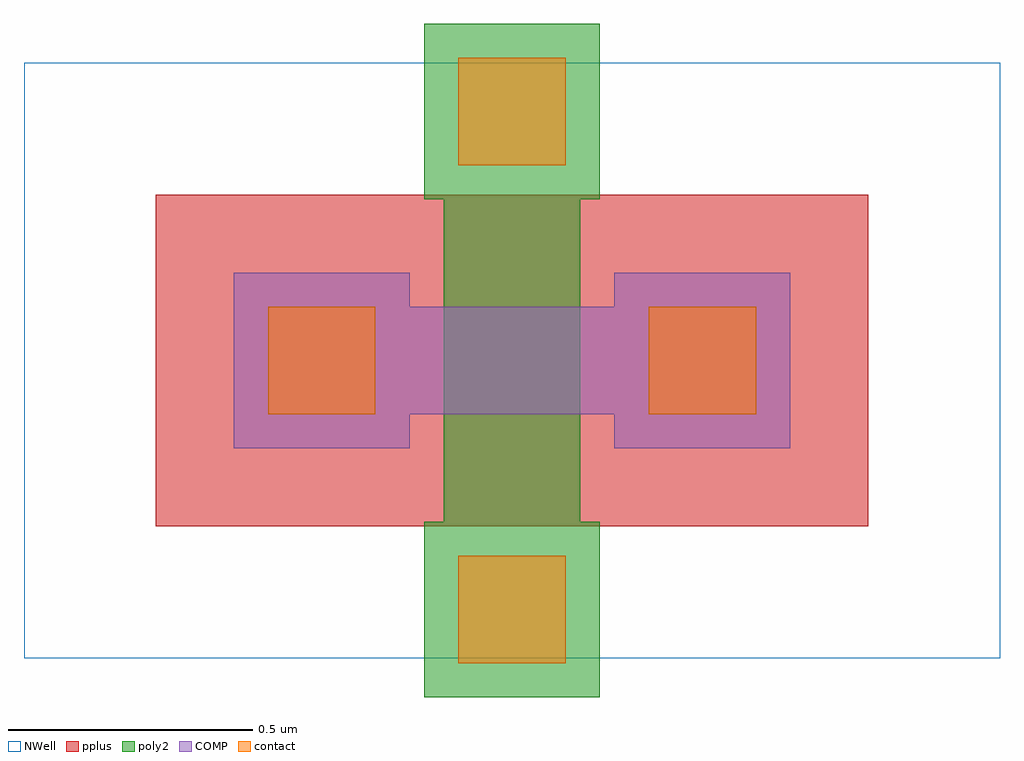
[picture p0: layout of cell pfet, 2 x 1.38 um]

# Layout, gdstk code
import gdstk
lib = gdstk.Library(unit=1e-6, precision=1e-09)
def R(c, l, rs):  # rectangles x0, y0, x1, y1
    for r in rs: c.add(gdstk.rectangle(r[:2], r[2:], *l))
NWell = (21, 0)
COMP = (22, 0)
poly2 = (30, 0)
pplus = (31, 0)
contact = (33, 0)

labels_gen_c2858a10 = lib.new_cell('labels_gen_c2858a10')

labels_gen_0a97890e = lib.new_cell('labels_gen_0a97890e')

labels_gen_b82f8242 = lib.new_cell('labels_gen_b82f8242')

compass_520a5012 = lib.new_cell('compass_520a5012')
R(compass_520a5012, COMP, [(-0.21,-0.11,0.21,0.11)])

rectangle_520a5012 = lib.new_cell('rectangle_520a5012')
rectangle_520a5012.add(gdstk.Reference(compass_520a5012, (0.21,0.11)))

compass_9e7b3a30 = lib.new_cell('compass_9e7b3a30')
R(compass_9e7b3a30, COMP, [(-0.18,-0.18,0.18,0.18)])

rectangle_9e7b3a30 = lib.new_cell('rectangle_9e7b3a30')
rectangle_9e7b3a30.add(gdstk.Reference(compass_9e7b3a30, (0.18,0.18)))

compass_f38dc993 = lib.new_cell('compass_f38dc993')
R(compass_f38dc993, contact, [(-0.11,-0.11,0.11,0.11)])

rectangle_f38dc993 = lib.new_cell('rectangle_f38dc993')
rectangle_f38dc993.add(gdstk.Reference(compass_f38dc993, (0.11,0.11)))

via_generator_085ba817 = lib.new_cell('via_generator_085ba817')
r = gdstk.Reference(rectangle_f38dc993, (-0.29,0)); r.repetition = gdstk.Repetition(1, 1, v1=(0.5,0), v2=(0,0.5)); via_generator_085ba817.add(r)

compass_9deecdff = lib.new_cell('compass_9deecdff')
R(compass_9deecdff, COMP, [(-0.17,-0.17,0.17,0.17)])

rectangle_9deecdff = lib.new_cell('rectangle_9deecdff')
rectangle_9deecdff.add(gdstk.Reference(compass_9deecdff, (0.17,0.17)))

via_stack_ea03a7d4 = lib.new_cell('via_stack_ea03a7d4')
via_stack_ea03a7d4.add(gdstk.Reference(via_generator_085ba817, (0,0)))
via_stack_ea03a7d4.add(gdstk.Reference(rectangle_9deecdff, (-0.35,-0.06)))

compass_497bce43 = lib.new_cell('compass_497bce43')
R(compass_497bce43, poly2, [(-0.14,-0.33,0.14,0.33)])

rectangle_497bce43 = lib.new_cell('rectangle_497bce43')
rectangle_497bce43.add(gdstk.Reference(compass_497bce43, (0.14,0.33)))

compass_8cbc0bb9 = lib.new_cell('compass_8cbc0bb9')
R(compass_8cbc0bb9, poly2, [(-0.18,-0.18,0.18,0.18)])

rectangle_8cbc0bb9 = lib.new_cell('rectangle_8cbc0bb9')
rectangle_8cbc0bb9.add(gdstk.Reference(compass_8cbc0bb9, (0.18,0.18)))

via_generator_01feaf1a = lib.new_cell('via_generator_01feaf1a')
r = gdstk.Reference(rectangle_f38dc993, (0.07,0.07)); r.repetition = gdstk.Repetition(1, 1, v1=(0.5,0), v2=(0,0.5)); via_generator_01feaf1a.add(r)

compass_c6da174f = lib.new_cell('compass_c6da174f')
R(compass_c6da174f, poly2, [(-0.17,-0.17,0.17,0.17)])

rectangle_c6da174f = lib.new_cell('rectangle_c6da174f')
rectangle_c6da174f.add(gdstk.Reference(compass_c6da174f, (0.17,0.17)))

via_stack_6a2e7997 = lib.new_cell('via_stack_6a2e7997')
via_stack_6a2e7997.add(gdstk.Reference(via_generator_01feaf1a, (0,0)))
via_stack_6a2e7997.add(gdstk.Reference(rectangle_c6da174f, (0.01,0.01)))

poly_con = lib.new_cell('poly con')
poly_con.add(gdstk.Reference(rectangle_8cbc0bb9, (0,0)))
poly_con.add(gdstk.Reference(via_stack_6a2e7997, (0,0)))

compass_9b9bd280 = lib.new_cell('compass_9b9bd280')
R(compass_9b9bd280, pplus, [(-0.73,-0.34,0.73,0.34)])

rectangle_9b9bd280 = lib.new_cell('rectangle_9b9bd280')
rectangle_9b9bd280.add(gdstk.Reference(compass_9b9bd280, (0.73,0.34)))

dev_temp = lib.new_cell('dev_temp')
dev_temp.add(gdstk.Reference(rectangle_520a5012, (0,0)))
r = gdstk.Reference(rectangle_9e7b3a30, (-0.36,-0.07)); r.repetition = gdstk.Repetition(2, 1, v1=(0.78,0), v2=(0,1)); dev_temp.add(r)
r = gdstk.Reference(via_stack_ea03a7d4, (0,0)); r.repetition = gdstk.Repetition(2, 1, v1=(0.78,0), v2=(0,1)); dev_temp.add(r)
dev_temp.add(gdstk.Reference(rectangle_497bce43, (0.07,-0.22)))
r = gdstk.Reference(poly_con, (0.03,-0.58)); r.repetition = gdstk.Repetition(1, 2, v1=(1,0), v2=(0,1.02)); dev_temp.add(r)
dev_temp.add(gdstk.Reference(rectangle_9b9bd280, (-0.52,-0.23)))

compass_4c4aabce = lib.new_cell('compass_4c4aabce')
R(compass_4c4aabce, NWell, [(-1,-0.61,1,0.61)])

rectangle_4c4aabce = lib.new_cell('rectangle_4c4aabce')
rectangle_4c4aabce.add(gdstk.Reference(compass_4c4aabce, (1,0.61)))

pfet_deep_nwell_7d41ff44 = lib.new_cell('pfet_deep_nwell_7d41ff44')
pfet_deep_nwell_7d41ff44.add(gdstk.Reference(rectangle_4c4aabce, (-0.79,-0.5)))

pfet = lib.new_cell('pfet')
pfet.add(gdstk.Reference(labels_gen_c2858a10, (0,0)))
pfet.add(gdstk.Reference(labels_gen_0a97890e, (0,0)))
pfet.add(gdstk.Reference(labels_gen_b82f8242, (0,0)))
pfet.add(gdstk.Reference(dev_temp, (0,0)))
pfet.add(gdstk.Reference(pfet_deep_nwell_7d41ff44, (0,0)))

lib.write_gds('pfet.gds')
